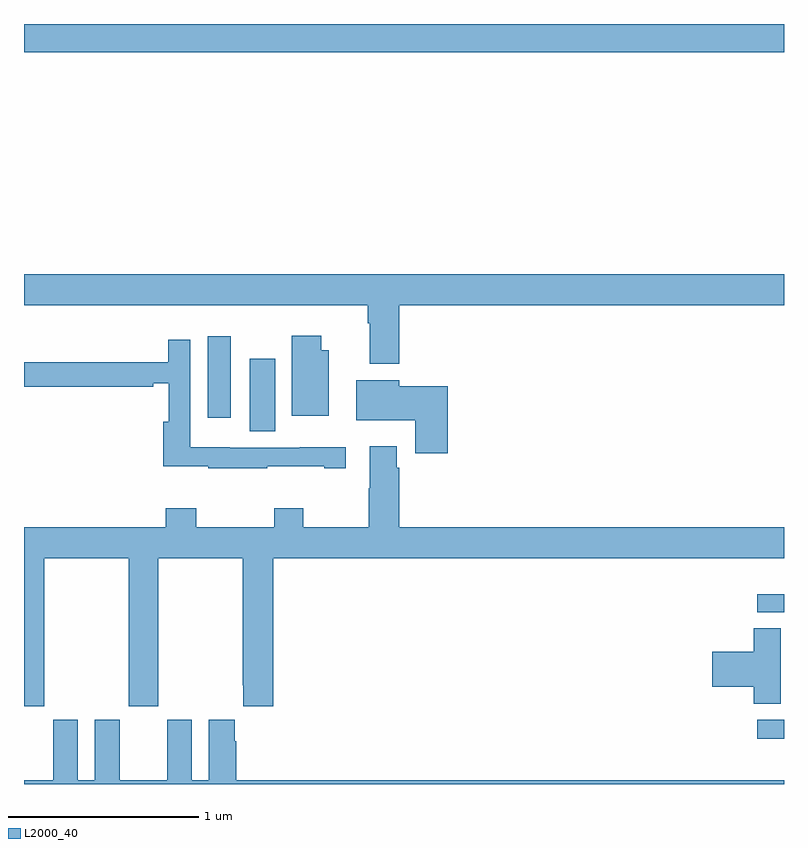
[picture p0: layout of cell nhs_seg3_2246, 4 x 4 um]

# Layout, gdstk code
import gdstk
lib = gdstk.Library(unit=1e-6, precision=1e-09)
def R(c, l, rs):  # rectangles x0, y0, x1, y1
    for r in rs: c.add(gdstk.rectangle(r[:2], r[2:], *l))
def P(c, l, *ps):  # polygons
    for p in ps: c.add(gdstk.Polygon(p, *l))
L2000_40 = (2000, 40)

nhs_seg3_2246 = lib.new_cell('nhs_seg3_2246')
R(nhs_seg3_2246, L2000_40, [(230.859,694.639,231,694.737), (230.859,695.304,231,695.4), (228.188,696.256,228.322,696.637), (227.966,696.327,228.088,696.757), (227,698.252,231,698.4)])
P(nhs_seg3_2246, L2000_40, [(228.974,696.92),(231,696.92),(231,697.084),(227,697.084),(227,696.92),(228.809,696.92),(228.809,696.824),(228.821,696.824),(228.821,696.611),(228.974,696.611)],
  [(228.604,696.682),(228.565,696.682),(228.565,696.76),(228.41,696.76),(228.41,696.338),(228.604,696.338)],
  [(228.281,696.073),(228.581,696.073),(228.581,696.063),(228.694,696.063),(228.694,696.172),(228.45,696.172),(228.45,696.171),(228.084,696.171),(228.084,696.172),(227.874,696.172),(227.874,696.739),(227.758,696.739),(227.758,696.619),(227,696.619),(227,696.49),(227.681,696.49),(227.681,696.509),(227.762,696.509),(227.762,696.307),(227.732,696.307),(227.732,696.073),(227.971,696.073),(227.971,696.063),(228.281,696.063)],
  [(229.229,696.493),(228.976,696.493),(228.976,696.526),(228.749,696.526),(228.749,696.314),(229.058,696.314),(229.058,696.141),(229.229,696.141)],
  [(227.106,695.588),(227.551,695.588),(227.551,694.809),(227.706,694.809),(227.706,695.588),(228.151,695.588),(228.151,694.921),(228.155,694.921),(228.155,694.809),(228.311,694.809),(228.311,695.588),(231,695.588),(231,695.752),(228.974,695.752),(228.974,696.065),(228.961,696.065),(228.961,696.178),(228.821,696.178),(228.821,695.957),(228.814,695.957),(228.814,695.752),(228.471,695.752),(228.471,695.851),(228.316,695.851),(228.316,695.752),(227.907,695.752),(227.907,695.851),(227.747,695.851),(227.747,695.752),(227,695.752),(227,694.809),(227.106,694.809)],
  [(230.983,695.219),(230.84,695.219),(230.84,695.096),(230.622,695.096),(230.622,694.913),(230.84,694.913),(230.84,694.822),(230.983,694.822)],
  [(231,694.42),(228.116,694.42),(228.116,694.625),(228.109,694.625),(228.109,694.738),(227.972,694.738),(227.972,694.42),(227.884,694.42),(227.884,694.738),(227.753,694.738),(227.753,694.42),(227.503,694.42),(227.503,694.738),(227.372,694.738),(227.372,694.42),(227.284,694.42),(227.284,694.738),(227.153,694.738),(227.153,694.42),(227,694.42),(227,694.4),(231,694.4)])

lib.write_gds('nhs_seg3_2246.gds')
